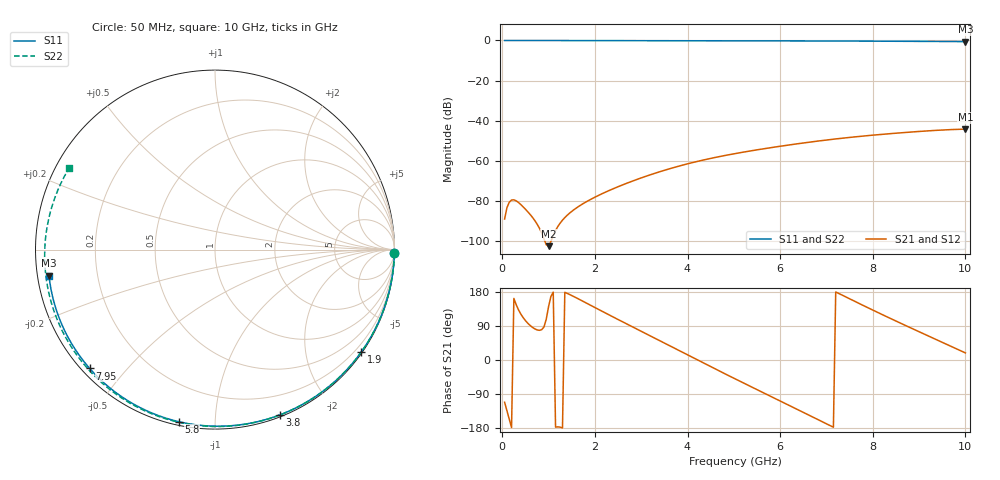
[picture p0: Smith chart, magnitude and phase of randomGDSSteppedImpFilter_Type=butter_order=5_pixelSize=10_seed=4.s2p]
! freq	dB(S11)	phase(S11)	dB(S12)	phase(S12)
!  dB(S21)	phase(S21)	dB(S22)	phase(S22)
!S-par simulation data
#  GHz  S  DB  R 50
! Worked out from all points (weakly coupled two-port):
!   200 points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, 50 MHz to 10 GHz, reference 50 ohm
!   highest |S21| = -44.22 dB at 10 GHz (marker M1); lowest = -102.6 dB at 1 GHz (marker M2)
!   lowest |S11| = -0.6 dB at 10 GHz (marker M3), VSWR 30.27, Z = 1.66 - j3.9 ohm
!   |S11| at or under -10 dB: nowhere
!   |S22| runs from -0.6 to 0.0 dB; largest |S21 - S12| = 0
!   S11 on the Smith chart (normalised r, x): 50 MHz: open; 1.9 GHz: 0.03, -3.17; 3.8 GHz: 0.02, -1.47; 5.8 GHz: 0.02, -0.81; 7.95 GHz: 0.02, -0.40; 10 GHz: 0.03, -0.08
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0.05  -0.00 -0.9  -89.04 -111.5  -89.04 -111.5  -0.00 -1.2
0.15  -0.00 -2.8  -80.69 -156.4  -80.69 -156.4  -0.00 -3.5
0.25  -0.01 -4.7  -79.47 162.4  -79.47 162.4  -0.01 -5.8
0.3  -0.01 -5.6  -79.97 146.0  -79.97 146.0  -0.01 -7.0
1  -0.02 -18.6  -102.58 141.3  -102.58 141.3  -0.03 -23.0
1.75  -0.04 -32.3  -81.30 154.5  -81.30 154.5  -0.05 -39.8
1.85  -0.04 -34.1  -79.97 148.1  -79.97 148.1  -0.05 -42.0
1.9  -0.04 -35.0  -79.34 144.9  -79.34 144.9  -0.05 -43.2
2.2  -0.05 -40.4  -75.93 125.7  -75.93 125.7  -0.06 -49.8
2.55  -0.06 -46.7  -72.46 103.7  -72.46 103.7  -0.07 -57.4
3  -0.07 -54.6  -68.53 75.7  -68.53 75.7  -0.09 -67.0
3.4  -0.08 -61.6  -65.45 50.9  -65.45 50.9  -0.10 -75.4
3.8  -0.09 -68.5  -62.74 25.9  -62.74 25.9  -0.11 -83.7
4.4  -0.11 -78.7  -59.32 -11.4  -59.32 -11.4  -0.14 -96.0
5.05  -0.14 -89.5  -56.32 -51.1  -56.32 -51.1  -0.17 -108.9
5.8  -0.18 -101.8  -53.45 -96.1  -53.45 -96.1  -0.21 -123.6
6.7  -0.23 -116.4  -50.51 -150.2  -50.51 -150.2  -0.27 -141.1
7.35  -0.28 -126.8  -48.72 170.5  -48.72 170.5  -0.33 -153.8
7.95  -0.33 -136.5  -47.33 134.7  -47.33 134.7  -0.38 -165.7
8.35  -0.37 -143.0  -46.53 111.4  -46.53 111.4  -0.43 -173.7
9.2  -0.47 -157.2  -45.07 63.4  -45.07 63.4  -0.52 168.5
10  -0.57 -171.1  -44.22 18.7  -44.22 18.7  -0.62 150.9
